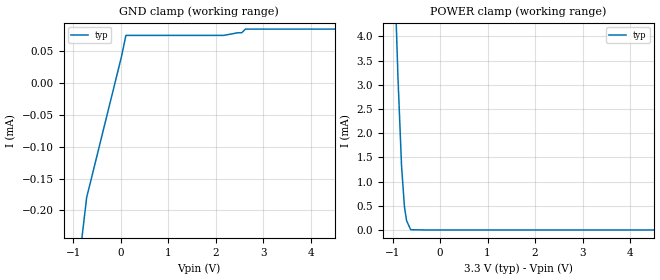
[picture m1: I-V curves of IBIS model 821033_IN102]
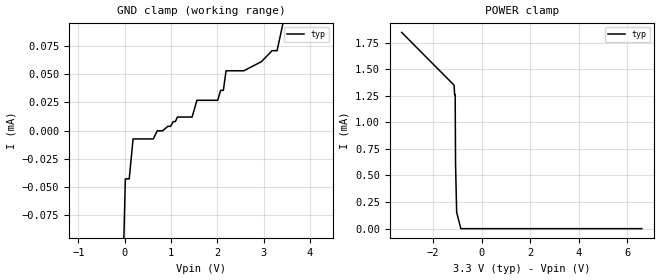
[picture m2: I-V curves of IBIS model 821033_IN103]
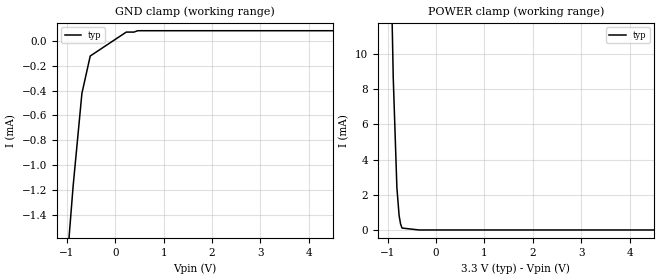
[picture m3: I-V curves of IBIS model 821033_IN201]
| COPYRIGHT(C) MENTOR GRAPHICS CORPORATION 2002 ALL
| RIGHTS RESERVED. THIS WORK CONTAINS PROPRIETARY
| INFORMATION WHICH IS THE PROPERTY OF MENTOR GRAPHICS
| CORPORATION OR ITS LICENSORS. USE OF THESE MATERIALS
| IS SUBJECT TO THE TERMS BELOW.
| USE: MENTOR GRAPHICS HAS LICENSED IBIS MODELS TO
| SPECIFIC INTEGRATED CIRCUIT SUPPLIERS ("IC VENDORS")
| FOR USE AND DISTRIBUTION AS FOLLOWS: EACH IC VENDOR
| MAY USE IBIS MODELS, AND DISTRIBUTE THEM TO IC VENDOR'S
| CUSTOMERS TO USE, SOLELY FOR DEVELOPING PRINTED
| CIRCUIT BOARD DESIGNS. NO OTHER USE OR DISTRIBUTION
| OF THESE MATERIALS IS PERMITTED.
| DISCLAIMER OF WARRANTY:  UNLESS OTHERWISE AGREED
| IN WRITING, MENTOR GRAPHICS SOFTWARE AND ASSOCIATED
| FILES ARE PROVIDED "AS IS" AND WITHOUT WARRANTY.
| MENTOR GRAPHICS HAS NO OBLIGATION TO SUPPORT OR
| OTHERWISE MAINTAIN SOFTWARE.  MENTOR GRAPHICS MAKES
| NO WARRANTIES, EXPRESS OR IMPLIED WITH RESPECT TO
| SOFTWARE INCLUDING ANY WARRANTY OF MERCHANTABILITY
| OR FITNESS FOR A PARTICULAR PURPOSE.
| LIMITATION OF LIABILITY:  MENTOR GRAPHICS IS NOT LIABLE FOR
| ANY PROPERTY DAMAGE, PERSONAL INJURY, LOSS OF PROFITS,
| INTERRUPTION OF BUSINESS, OR FOR ANY OTHER SPECIAL,
| CONSEQUENTIAL OR INCIDENTAL DAMAGES, HOWEVER CAUSED,
| WHETHER FOR BREACH OF WARRANTY, CONTRACT, TORT
| (INCLUDING NEGLIGENCE), STRICT LIABILITY OR OTHERWISE. IN NO
| EVENT SHALL MENTOR GRAPHICS' LIABILITY EXCEED THE AMOUNT
| PAID FOR THE PRODUCT GIVING RISE TO THE CLAIM.
| TRADEMARKS:  THE FOLLOWING ARE REGISTERED TRADEMARKS
| OR SERVICE MARKS OF MENTOR GRAPHICS CORPORATION:
| ICX, ICX STANDARD LIBRARY, ICX PROJECT MODELING,
| AND ICX CUSTOM MODELING.  THE FOLLOWING ARE TRADEMARKS
| OR SERVICE MARKS OF MENTOR GRAPHICS CORPORATION:
| QUALITYIBIS, MODELVIEWER, AND MODELEDITOR. ALL OTHER
| BRANDS AND PRODUCT NAMES ARE TRADEMARKS OF THEIR
| RESPECTIVE OWNERS.
| COPIES:  ALL COPIES OF SOFTWARE, INCLUDING BUT NOT LIMITED
| TO ANY MODIFICATIONS, ENHANCEMENTS OR DERIVATIVE WORKS
| MUST CONTAIN ALL MENTOR GRAPHICS' NOTICES AND LEGENDS,
| INCLUDING THOSE EMBEDDED IN SOFTWARE AND THOSE AFFIXED
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[IBIS Ver] 3.1
[File Name] nbsg86aba_33_800.ibs
[File Rev] 2.0
[Source] Measured and created by ICX Technology
[Date] Friday 5/31/02 2:01:46 PM
[Copyright]
| COPYRIGHT(C) MENTOR GRAPHICS CORPORATION 2002 ALL
| RIGHTS RESERVED. THIS WORK CONTAINS PROPRIETARY
| INFORMATION WHICH IS THE PROPERTY OF MENTOR GRAPHICS
| CORPORATION OR ITS LICENSORS. USE OF THESE MATERIALS
| IS SUBJECT TO THE TERMS BELOW.
| USE: MENTOR GRAPHICS HAS LICENSED IBIS MODELS TO
| SPECIFIC INTEGRATED CIRCUIT SUPPLIERS ("IC VENDORS")
| FOR USE AND DISTRIBUTION AS FOLLOWS: EACH IC VENDOR
| MAY USE IBIS MODELS, AND DISTRIBUTE THEM TO IC VENDOR'S
| CUSTOMERS TO USE, SOLELY FOR DEVELOPING PRINTED
| CIRCUIT BOARD DESIGNS. NO OTHER USE OR DISTRIBUTION
| OF THESE MATERIALS IS PERMITTED.
|  ZAP Model Builder 3.2
[Component] NBSG86ABA_33_800
[Manufacturer] OnSemiconductor
[Package]
| variable   typ   min   max
R_pkg  .151ohms NA NA
L_pkg  1.701nH NA NA
C_pkg  1.097pF NA NA
[Pin] signal_name  model_name  R_pin  L_pin C_pin
A1 VTD1 NC .158 1.726n 1.113p
A2 D1 821033_IN102 .153 1.675n 1.08p
A3 _D1 821033_IN103 .153 1.675n 1.08p
A4 _VTD1 NC .158 1.726n 1.113p
B1 SEL 821033_IN201 .149 1.726n 1.113p
B2 VTSEL NC .144 1.675n 1.08p
B3 VCC POWER .144 1.675n 1.08p
B4 Q 821033_OUT204 .149 1.726n 1.113p
C1 _SEL 821033_IN301 .149 1.726n 1.113p
C2 OLS 821033_IN302 .144 1.675n 1.08p
C3 VEE POWER .144 1.675n 1.08p
C4 _Q 821033_OUT204 .149 1.726n 1.113p
D1 VTD0 NC .158 1.726n 1.113p
D2 D0 821033_IN402 .153 1.675n 1.08p
D3 _D0 821033_IN403 .153 1.675n 1.08p
D4 _VTD0 NC .158 1.726n 1.113p
[Diff Pin] inv_pin vdiff tdelay_typ tdelay_min tdelay_max
A2 A3 200mV NA NA NA
B1 C1 NA NA NA NA
B4 C4 200mV NA NA NA
D2 D3 200mV NA NA NA
[Series Pin Mapping]   pin_2   model_name
A1   A2   series_r_50
A4   A3   series_r_50
B2   B1   series_r_50
B2   C1   series_r_50
D1   D2   series_r_50
D4   D3   series_r_50
[Model]   series_r_50
Model_type  Series
C_comp   0  NA  NA
[Voltage range]   0  NA  NA
|   typ   min   max
[R series]   50   45   55
| Models and submodels in the file (9): series_r_50 (Series), 821033_IN102 (Input_ECL), 821033_IN103 (Input_ECL), 821033_IN201 (Input_ECL), 821033_IN301 (Input_ECL), 821033_IN302 (Input), 821033_IN402 (Input_ECL), 821033_IN403 (Input_ECL), 821033_OUT204 (Output_ECL)
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| COPYRIGHT(C) MENTOR GRAPHICS CORPORATION 2002 ALL
| RIGHTS RESERVED. THIS WORK CONTAINS PROPRIETARY
| INFORMATION WHICH IS THE PROPERTY OF MENTOR GRAPHICS
| CORPORATION OR ITS LICENSORS. USE OF THESE MATERIALS
| IS SUBJECT TO THE TERMS BELOW.
| USE: MENTOR GRAPHICS HAS LICENSED IBIS MODELS TO
| SPECIFIC INTEGRATED CIRCUIT SUPPLIERS ("IC VENDORS")
| FOR USE AND DISTRIBUTION AS FOLLOWS: EACH IC VENDOR
| MAY USE IBIS MODELS, AND DISTRIBUTE THEM TO IC VENDOR'S
| CUSTOMERS TO USE, SOLELY FOR DEVELOPING PRINTED
| CIRCUIT BOARD DESIGNS. NO OTHER USE OR DISTRIBUTION
| OF THESE MATERIALS IS PERMITTED.
| Model Application Version 1.89 2/18/99.
[Model] 821033_IN102
Model_type Input_ECL
Vinl = 1.575V
Vinh = 1.725V
C_comp 500.0fF NA NA
| variable typ   min   max
[Voltage Range] 3.300V NA NA
[GND Clamp Reference] 0.000V NA NA
[POWER Clamp Reference] 3.300V NA NA
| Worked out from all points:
|   GND clamp passes 1 mA (typ) near -1.08 V on its own axis
|   POWER clamp passes 1 mA (typ) near -0.79 V on its own axis
[GND Clamp]
-3.3V     -31.49mA   NA         NA
-1.079V   -408.5uA   NA         NA
-719.6mV  -179.8uA   NA         NA
15.51mV   41.72uA    NA         NA
106.6mV   74.5uA     NA         NA
2.168V    74.5uA     NA         NA
2.544V    78.6uA     NA         NA
2.625V    84.35uA    NA         NA
6.6V      84.35uA    NA         NA
[POWER Clamp]
-3.3V     213.4mA    NA         NA
-1.007V   6.875mA    NA         NA
-885.5mV  3.162mA    NA         NA
-809.7mV  1.325mA    NA         NA
-748.9mV  478.5uA    NA         NA
-703.2mV  190.1uA    NA         NA
-617mV    5.758uA    NA         NA
6.6V      0A         NA         NA
| COPYRIGHT(C) MENTOR GRAPHICS CORPORATION 2002 ALL
| RIGHTS RESERVED. THIS WORK CONTAINS PROPRIETARY
| INFORMATION WHICH IS THE PROPERTY OF MENTOR GRAPHICS
| CORPORATION OR ITS LICENSORS. USE OF THESE MATERIALS
| IS SUBJECT TO THE TERMS BELOW.
| USE: MENTOR GRAPHICS HAS LICENSED IBIS MODELS TO
| SPECIFIC INTEGRATED CIRCUIT SUPPLIERS ("IC VENDORS")
| FOR USE AND DISTRIBUTION AS FOLLOWS: EACH IC VENDOR
| MAY USE IBIS MODELS, AND DISTRIBUTE THEM TO IC VENDOR'S
| CUSTOMERS TO USE, SOLELY FOR DEVELOPING PRINTED
| CIRCUIT BOARD DESIGNS. NO OTHER USE OR DISTRIBUTION
| OF THESE MATERIALS IS PERMITTED.
| Model Application Version 1.89 2/18/99.
[Model] 821033_IN103
Model_type Input_ECL
Vinl = 1.575V
Vinh = 1.725V
C_comp 500.0fF NA NA
| variable typ   min   max
[Voltage Range] 3.300V NA NA
[GND Clamp Reference] 0.000V NA NA
[POWER Clamp Reference] 3.300V NA NA
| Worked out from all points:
|   POWER clamp passes 1 mA (typ) near -1.09 V on its own axis
[GND Clamp]
-3.3V     -5.49mA    NA         NA
98.98mV   -42.78uA   NA         NA
182.5mV   -7.442uA   NA         NA
617.7mV   -7.442uA   NA         NA
1.456V    11.93uA    NA         NA
1.561V    26.76uA    NA         NA
2.009V    26.76uA    NA         NA
2.131V    35.53uA    NA         NA
2.189V    52.87uA    NA         NA
2.572V    52.87uA    NA         NA
3.182V    70.64uA    NA         NA
6.6V      697.5uA    NA         NA
[POWER Clamp]
-3.3V     1.845mA    NA         NA
-1.139V   1.349mA    NA         NA
-1.116V   1.26mA     NA         NA
-1.093V   1.26mA     NA         NA
-1.078V   607.8uA    NA         NA
-1.032V   154.2uA    NA         NA
-860.4mV  0A         NA         NA
6.6V      0A         NA         NA
| COPYRIGHT(C) MENTOR GRAPHICS CORPORATION 2002 ALL
| RIGHTS RESERVED. THIS WORK CONTAINS PROPRIETARY
| INFORMATION WHICH IS THE PROPERTY OF MENTOR GRAPHICS
| CORPORATION OR ITS LICENSORS. USE OF THESE MATERIALS
| IS SUBJECT TO THE TERMS BELOW.
| USE: MENTOR GRAPHICS HAS LICENSED IBIS MODELS TO
| SPECIFIC INTEGRATED CIRCUIT SUPPLIERS ("IC VENDORS")
| FOR USE AND DISTRIBUTION AS FOLLOWS: EACH IC VENDOR
| MAY USE IBIS MODELS, AND DISTRIBUTE THEM TO IC VENDOR'S
| CUSTOMERS TO USE, SOLELY FOR DEVELOPING PRINTED
| CIRCUIT BOARD DESIGNS. NO OTHER USE OR DISTRIBUTION
| OF THESE MATERIALS IS PERMITTED.
| Model Application Version 1.89 2/18/99.
[Model] 821033_IN201
Model_type Input_ECL
Vinl = 1.575V
Vinh = 1.725V
C_comp 500.0fF NA NA
| variable typ   min   max
[Voltage Range] 3.300V NA NA
[GND Clamp Reference] 0.000V NA NA
[POWER Clamp Reference] 3.300V NA NA
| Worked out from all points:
|   GND clamp passes 1 mA (typ) near -0.83 V on its own axis
|   POWER clamp passes 1 mA (typ) near -0.77 V on its own axis
[GND Clamp]
-3.3V     -13.09mA   NA         NA
-871.7mV  -1.171mA   NA         NA
-689.4mV  -422.8uA   NA         NA
-517.1mV  -122.4uA   NA         NA
228.2mV   69.56uA    NA         NA
386.9mV   69.56uA    NA         NA
466.3mV   80.57uA    NA         NA
6.6V      80.57uA    NA         NA
[POWER Clamp]
-3.3V     349.3mA    NA         NA
-885.6mV  8.686mA    NA         NA
-809.7mV  2.395mA    NA         NA
-764mV    822.9uA    NA         NA
-733.6mV  336.8uA    NA         NA
-703.2mV  109.3uA    NA         NA
-351.6mV  0A         NA         NA
6.6V      0A         NA         NA
